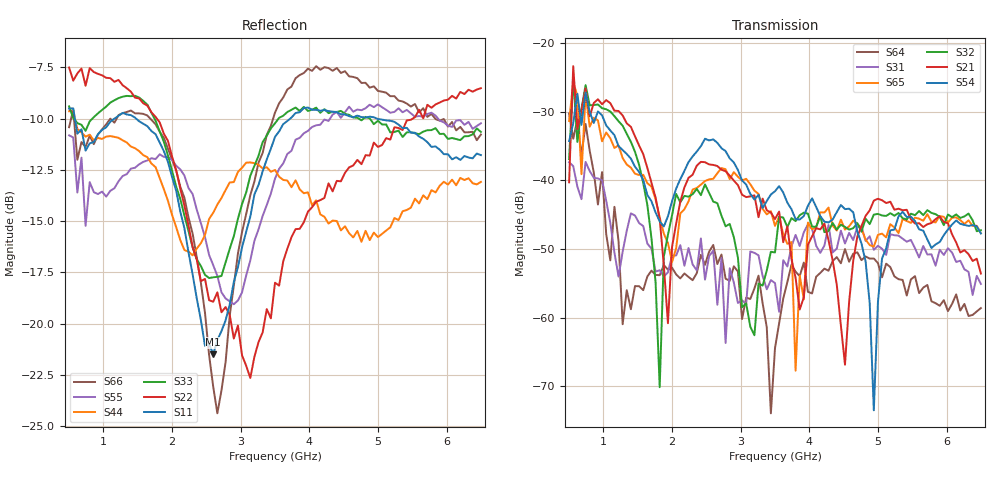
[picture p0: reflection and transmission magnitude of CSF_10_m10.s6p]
!Keysight Technologies,M9804A,MY58100912,A.14.10.03
!Date: Thursday, April 27, 2023 10:28:33
!Correction: S11(C  6-Port  )
!S12(C  6-Port  )
!S13(C  6-Port  )
!S14(C  6-Port  )
!S15(C  6-Port  )
!S16(C  6-Port  )
!S21(C  6-Port  )
!S22(C  6-Port  )
!S23(C  6-Port  )
!S24(C  6-Port  )
!S25(C  6-Port  )
!S26(C  6-Port  )
!S31(C  6-Port  )
!S32(C  6-Port  )
!S33(C  6-Port  )
!S34(C  6-Port  )
!S35(C  6-Port  )
!S36(C  6-Port  )
!S41(C  6-Port  )
!S42(C  6-Port  )
!S43(C  6-Port  )
!S44(C  6-Port  )
!S45(C  6-Port  )
!S46(C  6-Port  )
!S51(C  6-Port  )
!S52(C  6-Port  )
!S53(C  6-Port  )
!S54(C  6-Port  )
!S55(C  6-Port  )
!S56(C  6-Port  )
!S61(C  6-Port  )
!S62(C  6-Port  )
!S63(C  6-Port  )
!S64(C  6-Port  )
!S65(C  6-Port  )
!S66(C  6-Port  )
!S6P File: Measurement: :
# Hz S  RI  R 50
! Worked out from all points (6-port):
!   101 points, 500 MHz to 6.5 GHz, reference 50 ohm
!   strongest paths, dB at 500 MHz, 2 GHz, 3.5 GHz, 5 GHz, 6.5 GHz:
!     S54: -34.3, -43.0, -41.6, -57.7, -47.7
!     S21: -40.3, -49.7, -45.6, -42.7, -53.6
!     S32: -36.9, -45.1, -50.5, -44.9, -47.3
!     S65: -31.3, -51.9, -46.6, -47.9, -47.7
!     S31: -37.3, -51.0, -55.0, -49.5, -55.1
!     S64: -30.2, -52.7, -64.4, -52.0, -58.6
!   lowest |S11| = -21.5 dB at 2.6 GHz (marker M1), VSWR 1.18, Z = 42.5 + j1.99 ohm
!   |S11| at or under -10 dB: 584.2 MHz to 1.162 GHz (577.6 MHz wide, 66.2 % of centre); 1.475 GHz to 3.722 GHz (2.247 GHz wide, 86.5 % of centre); 4.984 GHz to end of sweep
